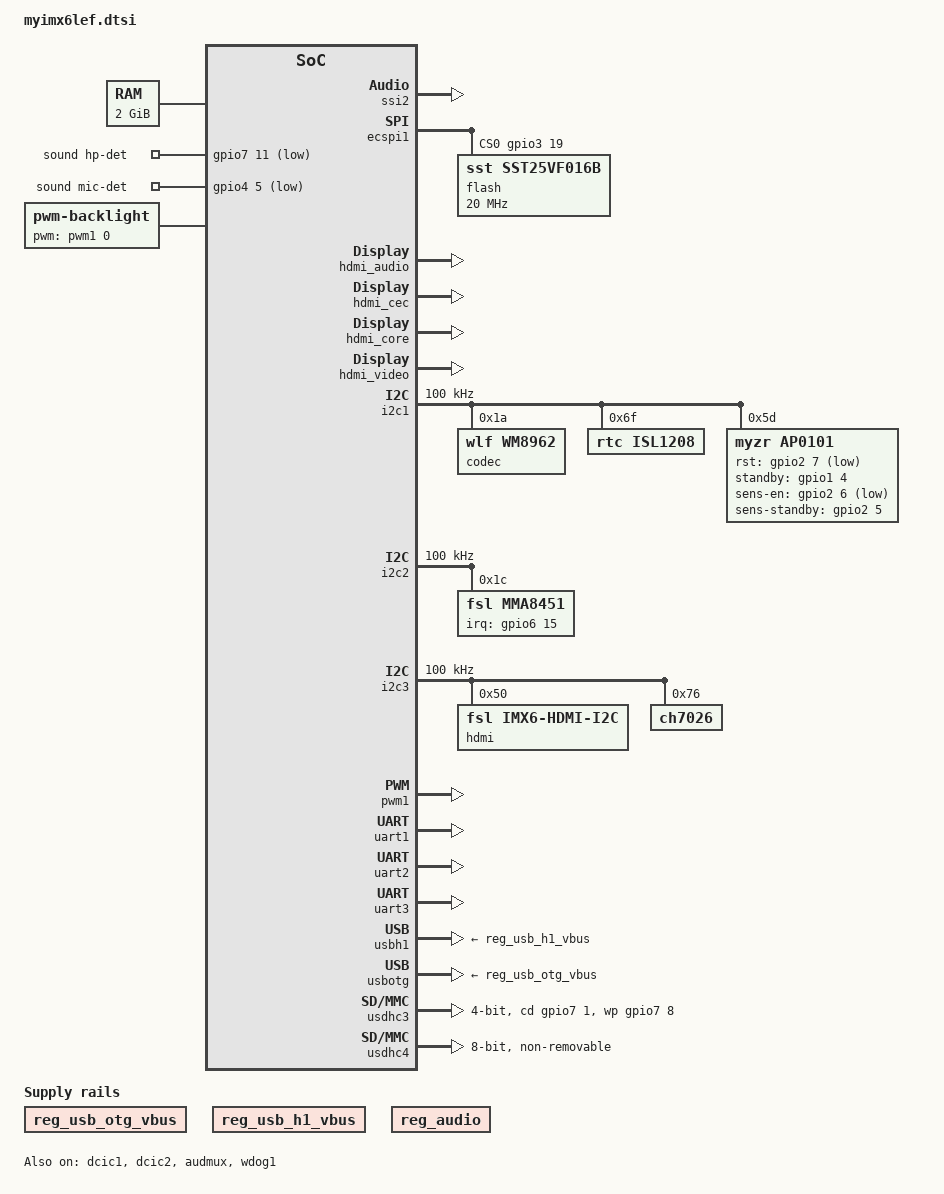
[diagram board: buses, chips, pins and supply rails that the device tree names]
/*
 * MYZR Technology Co.,Ltd
 * http://www.myzr.com.cn
 * Tang Bin <tangb@myzr.com.cn>
 */

#include <dt-bindings/input/input.h>
#include "myimx6lef-iomux.dtsi"

/ {
	aliases {
		mxcfb0 = &mxcfb1;
		mxcfb1 = &mxcfb2;
		mxcfb2 = &mxcfb3;
		mxcfb3 = &mxcfb4;
	};

	memory: memory {
		reg = <0x10000000 0x80000000>;
	};
	
	regulators {
		compatible = "simple-bus";
		#address-cells = <1>;
		#size-cells = <0>;

		reg_usb_otg_vbus: regulator@0 {
			compatible = "regulator-fixed";
			reg = <0>;
			regulator-name = "usb_otg_vbus";
			enable-active-high;
		};

		reg_usb_h1_vbus: regulator@1 {
			compatible = "regulator-fixed";
			reg = <1>;
			regulator-name = "usb_h1_vbus";
			enable-active-high;
		};

		reg_audio: regulator@2 {
			compatible = "regulator-fixed";
			reg = <2>;
			regulator-name = "wm8962-supply";
			enable-active-high;
		};
	};
	
	sound {
		compatible = "myzr,myimx6-wm8962",
			   "fsl,imx-audio-wm8962";
		model = "wm8962-audio";
		cpu-dai = <&ssi2>;
		audio-codec = <&codec>;
		asrc-controller = <&asrc>;
		audio-routing =
			"Headphone Jack", "HPOUTL",
			"Headphone Jack", "HPOUTR",
			"Ext Spk", "SPKOUTL",
			"Ext Spk", "SPKOUTR",
			"MICBIAS", "AMIC",
			"IN3R", "MICBIAS",
			"DMIC", "MICBIAS",
			"DMICDAT", "DMIC",
			"CPU-Playback", "ASRC-Playback",
			"Playback", "CPU-Playback",
			"ASRC-Capture", "CPU-Capture",
			"CPU-Capture", "Capture";
		mux-int-port = <2>;
		mux-ext-port = <4>;
		hp-det-gpios = <&gpio7 11 1>;
		mic-det-gpios = <&gpio4 5 1>;
	};

	sound-hdmi {
		compatible = "fsl,imx6q-audio-hdmi",
			     "fsl,imx-audio-hdmi";
		model = "imx-audio-hdmi";
		hdmi-controller = <&hdmi_audio>;
	};

	mxcfb1: fb@0 {
		compatible = "fsl,mxc_sdc_fb";
		disp_dev = "ldb";
		interface_pix_fmt = "RGB666";
		default_bpp = <16>;
		int_clk = <0>;
		late_init = <0>;
		status = "disabled";
	};

	mxcfb2: fb@1 {
		compatible = "fsl,mxc_sdc_fb";
		disp_dev = "hdmi";
		interface_pix_fmt = "RGB24";
		mode_str ="1920x1080M@60";
		default_bpp = <24>;
		int_clk = <0>;
		late_init = <0>;
		status = "disabled";
	};

	mxcfb3: fb@2 {
		compatible = "fsl,mxc_sdc_fb";
		disp_dev = "lcd";
		interface_pix_fmt = "RGB565";
		mode_str ="CLAA-WVGA";
		default_bpp = <16>;
		int_clk = <0>;
		late_init = <0>;
		status = "disabled";
	};

	mxcfb4: fb@3 {
		compatible = "fsl,mxc_sdc_fb";
		disp_dev = "ldb";
		interface_pix_fmt = "RGB666";
		default_bpp = <16>;
		int_clk = <0>;
		late_init = <0>;
		status = "disabled";
	};

	lcd@0 {
		compatible = "fsl,lcd";
		ipu_id = <0>;
		disp_id = <0>;
		default_ifmt = "RGB24";
		pinctrl-names = "default";
		pinctrl-0 = <&pinctrl_lcd_ipu1disp0>;
		status = "okay";
	};

	backlight {
		compatible = "pwm-backlight";
		pwms = <&pwm1 0 5000000>;
		brightness-levels = <0 36 72 108 144 180 216 255>;
		default-brightness-level = <4>;
		status = "okay";
	};

	v4l2_cap_0 {
		compatible = "fsl,imx6q-v4l2-capture";
		ipu_id = <0>;
		csi_id = <0>;
		mclk_source = <0>;
		status = "okay";
	};

	v4l2_cap_1 {
		compatible = "fsl,imx6q-v4l2-capture";
		ipu_id = <0>;
		csi_id = <1>;
		mclk_source = <0>;
		status = "okay";
	};

	v4l2_out {
		compatible = "fsl,mxc_v4l2_output";
		status = "okay";
	};
};

&iomuxc {
	pinctrl-names = "default";
	pinctrl-0 = <&pinctrl_gpio_func &pinctrl_eim0_gpio &pinctrl_nandf_gpio &pinctrl_lcd_gpio &pinctrl_lcd_ipu1disp0>;
};

&clks {
	fsl,ldb-di0-parent = <&clks IMX6QDL_CLK_PLL2_PFD0_352M>;
	fsl,ldb-di1-parent = <&clks IMX6QDL_CLK_PLL2_PFD0_352M>;
};

&dcic1 {
	dcic_id = <0>;
	dcic_mux = "dcic-hdmi";
	status = "okay";
};

&dcic2 {
	dcic_id = <1>;
	dcic_mux = "dcic-lvds1";
	status = "okay";
};

&gpc {
	fsl,ldo-bypass = <1>;
	fsl,wdog-reset = <1>;
};

&audmux {
	pinctrl-names = "default";
	pinctrl-0 = <&pinctrl_sd2_aud4>;
	status = "okay";
};

&ssi2 {
	fsl,mode = "i2s-slave";
	status = "okay";
};

&ecspi1 {
	fsl,spi-num-chipselects = <1>;
	cs-gpios = <&gpio3 19 0>;
	pinctrl-names = "default";
	pinctrl-0 = <&pinctrl_eim0_spi1>;
	status = "okay";

	flash: m25p80@0 {
		#address-cells = <1>;
		#size-cells = <1>;
		compatible = "sst,sst25vf016b";
		spi-max-frequency = <20000000>;
		reg = <0>;
	};
};

&hdmi_audio {
	status = "okay";
};

&hdmi_cec {
	pinctrl-names = "default";
	pinctrl-0 = <&pinctrl_gpio_hdmi>;
	status = "okay";
};

&hdmi_core {
	ipu_id = <0>;
	disp_id = <0>;
	status = "okay";
};

&hdmi_video {
	fsl,phy_reg_vlev = <0x0294>;
	fsl,phy_reg_cksymtx = <0x800d>;
	status = "okay";
};

&i2c1 {
	/* AP0101, ISL1208, WM8962 */
	clock-frequency = <100000>;
	pinctrl-names = "default";
	pinctrl-0 = <&pinctrl_eim0_i2c1>;
	status = "okay";

	codec: wm8962@1a {
		compatible = "wlf,wm8962";
		reg = <0x1a>;
		clocks = <&clks 201>;
		amic-mono;
		gpio-cfg = <
			0x0000 /* 0:Default */
			0x0000 /* 1:Default */
			0x0013 /* 2:FN_DMICCLK */
			0x0000 /* 3:Default */
			0x8014 /* 4:FN_DMICCDAT */
			0x0000 /* 5:Default */
		>;
       };

	isl1208@6f {
		compatible = "rtc,isl1208";
		reg = <0x6f>;
	};
	
	myzr: ap0101@5d {
		compatible = "myzr,ap0101";
		reg = <0x5d>;
		pinctrl-names = "default";
		pinctrl-0 = <&pinctrl_csi_csi0 &pinctrl_nandf_ap0101>;
		rst-gpios = <&gpio2 7 1>;
		standby-gpios = <&gpio1 4 0>;
		sens-en-gpios = <&gpio2 6 1>;
		sens-standby-gpios = <&gpio2 5 0>;
		clocks = <&clks IMX6QDL_CLK_CKO>;
		clock-names = "csi_mclk";
		csi_id = <0>;
		mclk = <24000000>;
		mclk_source = <0>;
	};
};

&i2c2 {
	/* MMA8415Q, RN5T568 */
	clock-frequency = <100000>;
	pinctrl-names = "default";
	pinctrl-0 = <&pinctrl_gpio_i2c2>;
	status = "okay";
	
	mma8451@1c {
		compatible = "fsl,mma8451";
		reg = <0x1c>;
		position = <7>;
		interrupt-parent = <&gpio6>;
		interrupts = <15 8>;
		interrupt-route = <1>;
	};
};

&i2c3 {
	/* HDMI, CH7026B */
	clock-frequency = <100000>;
	pinctrl-names = "default";
	pinctrl-0 = <&pinctrl_gpio_i2c3>;
	status = "okay";

	hdmi: edid@50 {
		compatible = "fsl,imx6-hdmi-i2c";
		reg = <0x50>;
	};
	
	ch7026@76 {
		compatible = "ch7026";
		reg = <0x76>;
	};
};

&pwm1 {
	pinctrl-names = "default";
	pinctrl-0 = <&pinctrl_sd1_pwm1>;
	status = "okay";
};

&uart1 {
	pinctrl-names = "default";
	pinctrl-0 = <&pinctrl_sd3_uart1>;
	status = "okay";
};

&uart2 {
	pinctrl-names = "default";
	pinctrl-0 = <&pinctrl_eim0_uart2>;
	status = "okay";
};

&uart3 {
	pinctrl-names = "default";
	pinctrl-0 = <&pinctrl_eim0_uart3>;
	status = "okay";
};

&usbh1 {
	vbus-supply = <&reg_usb_h1_vbus>;
	status = "okay";
};

&usbotg {
	vbus-supply = <&reg_usb_otg_vbus>;
	pinctrl-names = "default";
	pinctrl-0 = <&pinctrl_gpio_usbotg>;
	disable-over-current;
	srp-disable;
	hnp-disable;
	adp-disable;
	status = "okay";
};

&usdhc3 {
	pinctrl-names = "default";
	pinctrl-0 = <&pinctrl_sd3_sd3>;
	bus-width = <4>;
	cd-gpios = <&gpio7 1 0>;
	wp-gpios = <&gpio7 8 0>;
	no-1-8-v;
	keep-power-in-suspend;
	enable-sdio-wakeup;
	status = "okay";
};

&usdhc4 {
	pinctrl-names = "default";
	pinctrl-0 = <&pinctrl_nandf_sd4>;
	bus-width = <8>;
	non-removable;
	no-1-8-v;
	keep-power-in-suspend;
	status = "okay";
};

&wdog1 {
	status = "okay";
};

&wdog2 {
	status = "disabled";
};

&caam_snvs {
	status = "disabled";
};
